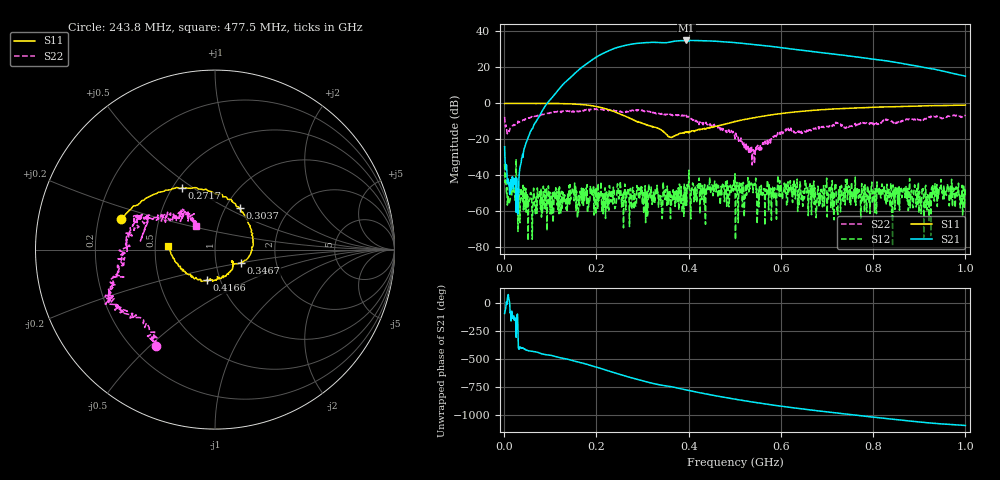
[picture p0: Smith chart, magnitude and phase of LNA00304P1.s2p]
! Created with skrf 1.9.0 (http://scikit-rf.org).
# Hz S RI R 50.0
!freq ReS11 ImS11 ReS21 ImS21 ReS12 ImS12 ReS22 ImS22
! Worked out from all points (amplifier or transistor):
!   1001 points, 1 MHz to 1 GHz, reference 50 ohm
!   highest |S21| = 35.0 dB at 394.6 MHz (marker M1)
!   |S21| within 3 dB of that: 258.6 MHz to 568.5 MHz (309.9 MHz wide, 74.9 % of centre)
!   unconditionally stable (mu >= 1): 3.615 MHz to 84.71 MHz; 252.2 MHz to 400.5 MHz; 400.7 MHz to end of sweep (the widest 3 of 34)
!   at 166.8 MHz: K = 1.14, MAG = 33.2 dB, |S12| = -51.3 dB
!   at 500.5 MHz: K = 1.06, MAG = 34.9 dB, |S12| = -39.1 dB
!   at 1 GHz: K = 5.49, MAG = 23.1 dB, |S12| = -51.8 dB
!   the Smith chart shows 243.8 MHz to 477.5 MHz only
!   S11 on the Smith chart (normalised r, x): 243.8 MHz: 0.29, +0.15; 271.7 MHz: 0.56, +0.45; 303.7 MHz: 1.16, +0.58; 346.7 MHz: 1.32, -0.20; 416.6 MHz: 0.86, -0.30; 477.5 MHz: 0.59, +0.03
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1000000  0.9874 0.0149  -0.00669 -0.0621  -0.02 -0.00511  0.2597 0.3316
1.08892e8  0.5084 -0.854  -0.8264 -1.531  0.00342 0.0017  0.4216 -0.3757
1.67833e8  -0.2575 -0.8919  -9.927 -0.4476  -0.00108 0.00428  0.0484 -0.6216
2.09791e8  -0.6727 -0.3606  -15.3 16.98  0.000354 -0.00669  -0.1714 -0.6597
2.43757e8  -0.5258 0.172  1.112 35.24  -0.00112 -0.00174  -0.3259 -0.5347
2.71729e8  -0.1835 0.3422  25.38 34.98  -0.000146 -0.000347  -0.4879 -0.3431
3.03697e8  0.138 0.2323  46.03 15.13  0.00126 0.00312  -0.5572 -0.1963
3.34666e8  0.1997 -0.0177  48.17 -10.16  -7.72e-05 0.0013  -0.5211 -0.0562
3.46654e8  0.1428 -0.0752  45.32 -16.93  -0.00249 0.00196  -0.4901 -0.0101
3.7063e8  0.0994 -0.0762  42.86 -32.5  -2.95e-05 0.00137  -0.4507 0.1514
3.94606e8  0.0564 -0.1502  28.62 -48.27  -0.00071 0.00418  -0.4257 0.1876
4.16584e8  -0.0471 -0.1701  11.49 -54.74  0.00289 0.00142  -0.278 0.1748
4.45555e8  -0.1822 -0.1179  -10.48 -53.25  0.00159 0.00874  -0.1933 0.1568
4.77523e8  -0.2604 0.0222  -29.77 -42.04  0.00108 0.0015  -0.1046 0.1293
5.005e8  -0.2774 0.1536  -38.51 -30.17  0.0104 0.00381  -0.0491 0.0922
5.4046e8  -0.1907 0.3516  -42.51 -8.848  0.00332 0.0035  -0.0502 0.0101
5.88412e8  0.0183 0.4978  -35.29 11.39  0.002 -0.000485  -0.0904 -0.0642
6.67333e8  0.3968 0.4989  -13.91 23.73  -0.000841 -0.00509  -0.1915 -0.0669
7.55245e8  0.6842 0.2803  3.871 19.81  0.00113 -0.00185  -0.2376 -0.00648
8.34166e8  0.7991 0.0204  10.83 10.1  -0.00352 0.0021  -0.3374 -0.0528
9.18082e8  0.8186 -0.2704  9.486 1.25  -0.00195 0.00216  -0.4027 0.0706
1e9  0.7304 -0.5178  5.491 -1.623  -0.00162 -0.00199  -0.3856 0.2212
